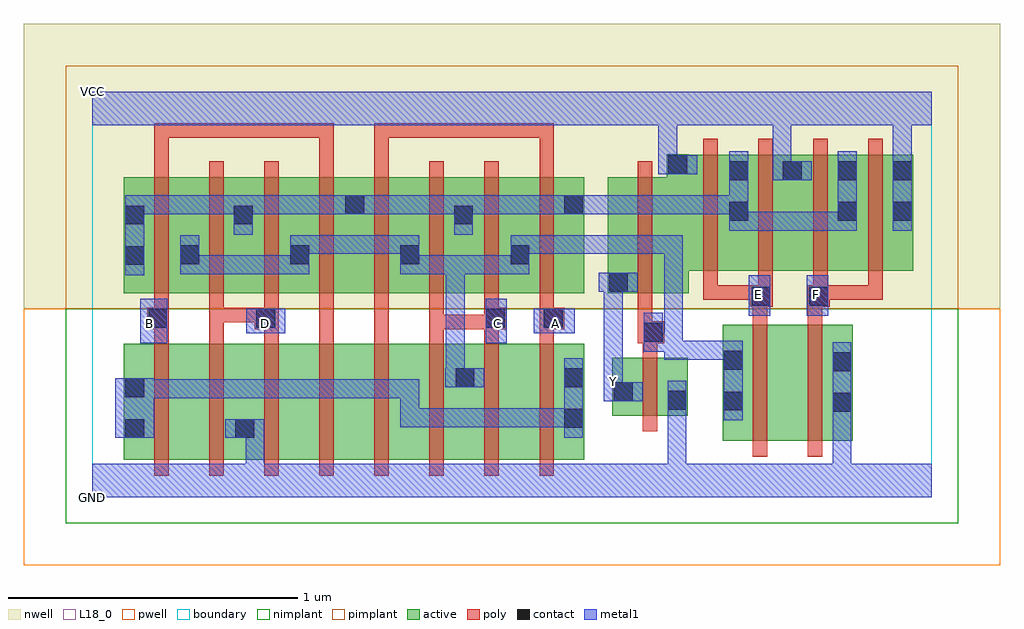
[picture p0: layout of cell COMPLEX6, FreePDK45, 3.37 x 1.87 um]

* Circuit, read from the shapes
.subckt COMPLEX6 A B C D E F GND VCC Y
M1 n1 B n2 VSUBS nfet w=0.4u l=0.05u
M2 GND D n1 VSUBS nfet w=0.4u l=0.05u
M3 n3 D GND VSUBS nfet w=0.4u l=0.05u
M4 n4 B n3 VSUBS nfet w=0.4u l=0.05u
M5 n5 A n4 VSUBS nfet w=0.4u l=0.05u
M6 n6 C n5 VSUBS nfet w=0.4u l=0.05u
M7 n7 C n6 VSUBS nfet w=0.4u l=0.05u
M8 n2 A n7 VSUBS nfet w=0.4u l=0.05u
M9 GND n6 Y VSUBS nfet w=0.2u l=0.05u
M10 n8 E n6 VSUBS nfet w=0.4u l=0.05u
M11 GND F n8 VSUBS nfet w=0.4u l=0.05u
M12 n6 B n9 n10 pfet w=0.4u l=0.05u m=2
M13 n9 D n6 n10 pfet w=0.4u l=0.05u m=2
M14 n6 A n9 n10 pfet w=0.4u l=0.05u m=2
M15 n9 C n6 n10 pfet w=0.4u l=0.05u m=2
M16 VCC n6 Y n10 pfet w=0.4u l=0.05u
M17 n9 E VCC n10 pfet w=0.4u l=0.05u m=2
M18 n9 F VCC n10 pfet w=0.4u l=0.05u m=2
.ends

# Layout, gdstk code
import gdstk
lib = gdstk.Library(unit=1e-6, precision=1e-09)
def R(c, l, rs):  # rectangles x0, y0, x1, y1
    for r in rs: c.add(gdstk.rectangle(r[:2], r[2:], *l))
def A(c, l, x, y, w, h, nx, ny, dx, dy):  # array of equal rectangles
    R(c, l, [(x+i*dx, y+j*dy, x+i*dx+w, y+j*dy+h) for i in range(nx) for j in range(ny)])
active = (1, 0)
pwell = (2, 0)
nwell = (3, 0)
nimplant = (4, 0)
pimplant = (5, 0)
poly = (9, 0)
contact = (10, 0)
metal1 = (11, 0)
L18_0 = (18, 0)
boundary = (235, 0)

complex6 = lib.new_cell('COMPLEX6')
A(complex6, active, 0.3, 0.705, 0.075, 0.365, 4, 1, 0.38, 0)
R(complex6, active, [(0.11,0.13,0.335,0.53), (0.335,0.13,0.565,0.53), (0.49,0.13,0.715,0.53), (0.715,0.13,0.905,0.53), (0.905,0.13,1.095,0.53), (1.095,0.13,1.325,0.53), (1.25,0.13,1.475,0.53), (1.475,0.13,1.7,0.53), (0.11,0.195,0.215,0.53), (0.49,0.195,0.565,0.492), (1.25,0.195,1.325,0.53), (1.625,0.195,1.7,0.53), (2.177,0.195,2.402,0.595), (2.177,0.195,2.282,0.595), (2.402,0.195,2.627,0.595), (2.552,0.195,2.627,0.595), (1.797,0.282,1.872,0.482), (1.797,0.282,2.057,0.482), (1.982,0.282,2.057,0.482), (0.11,0.705,0.185,1.105), (0.11,0.705,0.375,1.105), (0.3,0.705,0.56,1.105), (0.485,0.705,0.755,1.105), (0.68,0.705,0.945,1.105), (0.87,0.705,1.135,1.105), (1.06,0.705,1.32,1.105), (1.245,0.705,1.515,1.105), (1.44,0.705,1.7,1.105), (1.78,0.705,2.06,1.105), (1.78,0.705,1.855,0.94), (0.485,0.782,0.56,1.105), (1.245,0.782,1.32,1.105), (1.985,0.782,2.27,1.182), (2.195,0.782,2.455,1.182), (2.38,0.782,2.645,1.182), (2.57,0.782,2.835,1.182), (2.76,0.782,2.835,1.182), (2.38,0.802,2.455,1.165), (0.87,0.862,0.945,1.105), (1.625,0.907,1.7,1.105), (1.985,0.907,2.06,1.185), (2.195,0.907,2.27,1.182), (2.57,0.907,2.645,1.165)])
R(complex6, pwell, [(-0.235,-0.235,3.135,0.65)])
R(complex6, nwell, [(-0.235,0.65,3.135,1.635)])
R(complex6, nimplant, [(-0.09,-0.09,2.99,0.65)])
R(complex6, pimplant, [(-0.09,0.65,2.99,1.49)])
A(complex6, poly, 0.215, 0.075, 0.05, 0.51, 8, 2, 0.19, 0.575)
A(complex6, poly, 1.165, 0.535, 0.05, 0.095, 3, 1, 0.19, 0)
A(complex6, poly, 0.215, 0.605, 0.05, 0.095, 5, 1, 0.19, 0)
A(complex6, poly, 2.11, 0.682, 0.05, 0.095, 4, 1, 0.19, 0)
A(complex6, poly, 2.11, 0.727, 0.05, 0.51, 4, 1, 0.19, 0)
R(complex6, poly, [(2.282,0.14,2.332,0.65), (2.472,0.14,2.522,0.65), (1.902,0.227,1.952,0.537), (1.902,0.487,1.952,0.582), (1.885,0.532,1.975,0.607), (0.215,0.535,0.265,0.63), (0.405,0.535,0.455,0.655), (0.595,0.535,0.645,0.63), (0.785,0.535,0.835,0.655), (0.975,0.535,1.025,0.655), (1.885,0.557,1.935,0.7), (0.19,0.58,0.265,0.655), (0.562,0.58,0.645,0.655), (1.165,0.58,1.215,0.63), (1.165,0.58,1.215,0.63), (1.165,0.58,1.215,0.63), (1.165,0.58,1.405,0.63), (1.165,0.58,1.215,0.7), (1.355,0.58,1.43,0.655), (1.545,0.58,1.63,0.655), (2.282,0.6,2.332,0.707), (2.472,0.6,2.522,0.707), (0.405,0.605,0.455,0.655), (0.405,0.605,0.612,0.655), (0.562,0.605,0.612,0.655), (0.562,0.605,0.612,0.655), (0.785,0.605,0.835,0.655), (0.975,0.605,1.025,0.655), (1.355,0.605,1.405,0.7), (1.545,0.605,1.595,0.7), (1.885,0.65,1.935,1.16), (2.272,0.657,2.35,0.732), (2.472,0.657,2.547,0.732), (2.11,0.682,2.16,0.732), (2.11,0.682,2.16,0.732), (2.11,0.682,2.16,0.732), (2.11,0.682,2.322,0.732), (2.497,0.682,2.73,0.732), (2.497,0.682,2.547,0.732), (2.497,0.682,2.547,0.732), (2.68,0.682,2.73,0.732), (0.215,1.11,0.265,1.292), (0.785,1.11,0.835,1.292), (0.975,1.11,1.025,1.292), (1.545,1.11,1.595,1.292), (0.215,1.242,0.265,1.292), (0.215,1.242,0.48,1.292), (0.43,1.242,0.48,1.292), (0.43,1.242,0.48,1.292), (0.43,1.242,0.48,1.292), (0.43,1.242,0.702,1.292), (0.652,1.242,0.702,1.292), (0.652,1.242,0.702,1.292), (0.652,1.242,0.702,1.292), (0.652,1.242,0.835,1.292), (0.785,1.242,0.835,1.292), (0.785,1.242,0.835,1.292), (0.785,1.242,0.835,1.292), (0.975,1.242,1.025,1.292), (0.975,1.242,1.025,1.292), (0.975,1.242,1.025,1.292), (0.975,1.242,1.272,1.292), (1.222,1.242,1.272,1.292), (1.222,1.242,1.272,1.292), (1.222,1.242,1.272,1.292), (1.222,1.242,1.462,1.292), (1.412,1.242,1.462,1.292), (1.412,1.242,1.462,1.292), (1.412,1.242,1.462,1.292), (1.412,1.242,1.595,1.292), (1.545,1.242,1.595,1.292)])
A(complex6, contact, 0.305, 0.805, 0.065, 0.065, 4, 1, 0.38, 0)
A(complex6, contact, 2.385, 1.095, 0.065, 0.065, 3, 1, 0.19, 0)
R(complex6, contact, [(0.115,0.205,0.18,0.27), (0.495,0.205,0.56,0.27), (1.63,0.24,1.695,0.305), (2.557,0.295,2.622,0.36), (2.182,0.3,2.247,0.365), (1.987,0.302,2.052,0.367), (1.802,0.332,1.867,0.397), (0.115,0.345,0.18,0.41), (1.255,0.38,1.32,0.445), (1.63,0.38,1.695,0.445), (2.557,0.435,2.622,0.5), (2.182,0.44,2.247,0.505), (1.905,0.537,1.97,0.602), (0.195,0.585,0.26,0.65), (0.567,0.585,0.632,0.65), (1.36,0.585,1.425,0.65), (1.56,0.585,1.625,0.65), (2.277,0.662,2.342,0.727), (2.477,0.662,2.542,0.727), (1.785,0.71,1.85,0.775), (0.115,0.802,0.18,0.867), (0.115,0.942,0.18,1.007), (0.49,0.942,0.555,1.007), (1.25,0.942,1.315,1.007), (2.2,0.955,2.265,1.02), (2.575,0.955,2.64,1.02), (2.765,0.955,2.83,1.02), (0.875,0.977,0.94,1.042), (1.63,0.977,1.695,1.042), (2.2,1.095,2.265,1.16), (1.99,1.115,2.055,1.18)])
A(complex6, metal1, 0.305, 0.77, 0.065, 0.135, 4, 1, 0.38, 0)
R(complex6, metal1, [(0,0,2.9,0.115), (0.53,0.05,0.595,0.27), (1.987,0.05,2.052,0.115), (1.987,0.05,2.052,0.115), (1.987,0.05,2.052,0.332), (2.557,0.05,2.622,0.325), (0.08,0.205,0.215,0.41), (0.46,0.205,0.595,0.27), (1.63,0.205,1.695,0.48), (1.065,0.242,1.13,0.307), (1.065,0.242,1.13,0.307), (1.065,0.242,1.13,0.307), (1.065,0.242,1.267,0.307), (1.065,0.242,1.13,0.407), (1.202,0.242,1.267,0.307), (1.202,0.242,1.267,0.307), (1.202,0.242,1.267,0.307), (1.202,0.242,1.51,0.307), (1.445,0.242,1.51,0.307), (1.445,0.242,1.51,0.307), (1.445,0.242,1.51,0.307), (1.445,0.242,1.59,0.307), (1.525,0.242,1.59,0.307), (1.525,0.242,1.695,0.307), (2.557,0.26,2.622,0.535), (2.182,0.265,2.247,0.54), (1.987,0.267,2.052,0.332), (1.987,0.267,2.052,0.332), (1.987,0.267,2.052,0.402), (1.767,0.332,1.832,0.397), (1.767,0.332,1.902,0.397), (1.767,0.332,1.832,0.467), (0.15,0.342,0.215,0.407), (0.15,0.342,0.215,0.407), (0.15,0.342,0.387,0.407), (0.322,0.342,0.387,0.407), (0.322,0.342,0.387,0.407), (0.322,0.342,0.387,0.407), (0.322,0.342,0.555,0.407), (0.49,0.342,0.555,0.407), (0.49,0.342,0.692,0.407), (0.627,0.342,0.692,0.407), (0.627,0.342,0.692,0.407), (0.627,0.342,0.692,0.407), (0.627,0.342,0.83,0.407), (0.765,0.342,0.83,0.407), (0.765,0.342,0.992,0.407), (0.927,0.342,0.992,0.407), (0.927,0.342,0.992,0.407), (0.927,0.342,0.992,0.407), (0.927,0.342,1.13,0.407), (1.065,0.342,1.13,0.407), (1.22,0.38,1.355,0.445), (1.222,0.38,1.287,0.835), (1.767,0.402,1.832,0.775), (1.975,0.475,2.04,0.54), (1.975,0.475,2.13,0.54), (1.975,0.475,2.04,0.567), (2.065,0.475,2.13,0.54), (2.065,0.475,2.247,0.54), (1.905,0.502,2.04,0.567), (1.905,0.502,1.97,0.637), (1.975,0.502,2.04,0.567), (1.975,0.502,2.04,0.567), (1.975,0.502,2.04,0.567), (1.975,0.502,2.04,0.905), (0.167,0.532,0.26,0.685), (1.36,0.532,1.432,0.685), (0.532,0.567,0.667,0.65), (1.525,0.567,1.667,0.65), (2.267,0.627,2.342,0.767), (2.467,0.627,2.542,0.767), (1.75,0.71,1.885,0.775), (0.115,0.767,0.18,1.042), (0.305,0.77,0.37,0.835), (0.305,0.77,0.37,0.835), (0.305,0.77,0.555,0.835), (0.49,0.77,0.555,0.835), (0.49,0.77,0.555,0.835), (0.49,0.77,0.555,0.835), (0.49,0.77,0.75,0.835), (1.065,0.77,1.13,0.835), (1.065,0.77,1.13,0.835), (1.065,0.77,1.287,0.835), (1.222,0.77,1.287,0.835), (1.222,0.77,1.287,0.835), (1.222,0.77,1.287,0.835), (1.222,0.77,1.287,0.835), (1.222,0.77,1.287,0.835), (1.222,0.77,1.51,0.835), (0.685,0.84,0.837,0.905), (0.772,0.84,0.837,0.905), (0.772,0.84,0.992,0.905), (0.927,0.84,0.992,0.905), (0.927,0.84,0.992,0.905), (0.927,0.84,0.992,0.905), (0.927,0.84,1.13,0.905), (1.445,0.84,1.647,0.905), (1.582,0.84,1.647,0.905), (1.582,0.84,1.647,0.905), (1.582,0.84,1.647,0.905), (1.582,0.84,1.647,0.905), (1.582,0.84,1.647,0.905), (1.582,0.84,1.832,0.905), (1.767,0.84,1.832,0.905), (1.767,0.84,1.992,0.905), (1.927,0.84,1.992,0.905), (1.927,0.84,2.04,0.905), (1.975,0.84,2.04,0.905), (0.49,0.907,0.555,1.042), (1.25,0.907,1.315,1.042), (2.2,0.92,2.265,0.985), (2.2,0.92,2.265,0.985), (2.2,0.92,2.265,0.985), (2.2,0.92,2.265,1.195), (2.2,0.92,2.267,0.985), (2.202,0.92,2.267,0.985), (2.202,0.92,2.267,0.985), (2.202,0.92,2.485,0.985), (2.42,0.92,2.485,0.985), (2.42,0.92,2.64,0.985), (2.575,0.92,2.64,0.985), (2.575,0.92,2.64,0.985), (2.575,0.92,2.64,1.195), (2.765,0.92,2.83,1.195), (0.115,0.977,0.18,1.042), (0.115,0.977,0.18,1.042), (0.115,0.977,0.387,1.042), (0.322,0.977,0.387,1.042), (0.322,0.977,0.387,1.042), (0.322,0.977,0.387,1.042), (0.322,0.977,0.555,1.042), (0.49,0.977,0.692,1.042), (0.627,0.977,0.692,1.042), (0.627,0.977,0.692,1.042), (0.627,0.977,0.692,1.042), (0.627,0.977,0.837,1.042), (0.772,0.977,0.837,1.042), (0.772,0.977,0.905,1.042), (0.84,0.977,0.975,1.042), (0.91,0.977,0.975,1.042), (0.91,0.977,0.975,1.042), (0.91,0.977,1.13,1.042), (1.065,0.977,1.13,1.042), (1.065,0.977,1.13,1.042), (1.065,0.977,1.13,1.042), (1.065,0.977,1.315,1.042), (1.25,0.977,1.452,1.042), (1.387,0.977,1.452,1.042), (1.387,0.977,1.452,1.042), (1.387,0.977,1.452,1.042), (1.387,0.977,1.66,1.042), (1.595,0.977,1.66,1.042), (1.595,0.977,1.66,1.042), (1.595,0.977,1.73,1.042), (1.665,0.977,1.797,1.042), (1.732,0.977,1.797,1.042), (1.732,0.977,1.97,1.042), (1.905,0.977,1.97,1.042), (1.905,0.977,1.97,1.042), (1.905,0.977,1.97,1.042), (1.905,0.977,2.13,1.042), (2.065,0.977,2.13,1.042), (2.065,0.977,2.265,1.042), (2.35,1.095,2.415,1.35), (2.35,1.095,2.485,1.16), (1.955,1.115,2.09,1.18), (1.955,1.115,2.02,1.35), (2.765,1.13,2.83,1.195), (2.765,1.13,2.83,1.195), (2.765,1.13,2.83,1.35), (0,1.285,2.9,1.4), (1.955,1.285,2.02,1.35), (1.955,1.285,2.02,1.35), (2.35,1.285,2.415,1.35), (2.35,1.285,2.415,1.35)])
R(complex6, L18_0, [(0,0,2.9,0.115), (0.53,0.05,0.595,0.27), (1.987,0.05,2.052,0.115), (1.987,0.05,2.052,0.115), (1.987,0.05,2.052,0.332), (2.557,0.05,2.622,0.325), (0.46,0.205,0.595,0.27), (2.557,0.26,2.622,0.535), (1.987,0.267,2.052,0.402), (1.987,0.267,2.052,0.332), (1.987,0.267,2.052,0.332), (1.767,0.332,1.902,0.397), (1.767,0.332,1.832,0.467), (1.767,0.332,1.832,0.397), (1.767,0.367,1.832,0.432), (1.767,0.402,1.832,0.775), (0.167,0.532,0.26,0.685), (1.36,0.532,1.432,0.685), (0.167,0.567,0.232,0.632), (0.532,0.567,0.667,0.65), (0.567,0.567,0.632,0.632), (1.367,0.567,1.432,0.632), (1.525,0.567,1.667,0.65), (1.567,0.567,1.632,0.632), (2.267,0.627,2.342,0.767), (2.467,0.627,2.542,0.767), (2.267,0.667,2.332,0.732), (2.467,0.667,2.532,0.732), (1.75,0.71,1.885,0.775), (2.765,0.92,2.83,1.195), (2.35,1.095,2.485,1.16), (2.35,1.095,2.415,1.35), (1.955,1.115,2.09,1.18), (1.955,1.115,2.02,1.35), (2.765,1.13,2.83,1.35), (2.765,1.13,2.83,1.195), (2.765,1.13,2.83,1.195), (0,1.285,2.9,1.4), (1.955,1.285,2.02,1.35), (1.955,1.285,2.02,1.35), (2.35,1.285,2.415,1.35), (2.35,1.285,2.415,1.35)])
R(complex6, boundary, [(0,0,2.9,1.4)])
complex6.add(gdstk.Label('A', (1.6,0.6), layer=11, texttype=0))
complex6.add(gdstk.Label('B', (0.2,0.6), layer=11, texttype=0))
complex6.add(gdstk.Label('C', (1.4,0.6), layer=11, texttype=0))
complex6.add(gdstk.Label('D', (0.6,0.6), layer=11, texttype=0))
complex6.add(gdstk.Label('E', (2.3,0.7), layer=11, texttype=0))
complex6.add(gdstk.Label('F', (2.5,0.7), layer=11, texttype=0))
complex6.add(gdstk.Label('Y', (1.8,0.4), layer=11, texttype=0))
complex6.add(gdstk.Label('VCC', (0,1.4), layer=11, texttype=0))
complex6.add(gdstk.Label('GND', (0,0), layer=11, texttype=0))

lib.write_gds('COMPLEX6.gds')
